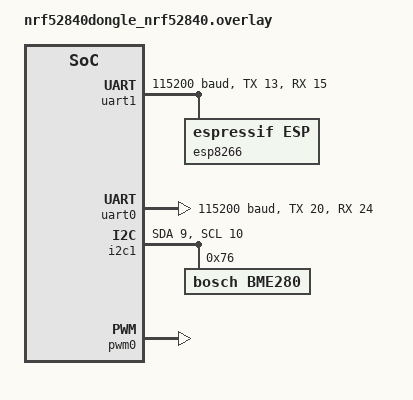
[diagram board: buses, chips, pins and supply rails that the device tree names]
&uart1 {
  compatible = "nordic,nrf-uarte";
  status = "okay";
  current-speed = <115200>;
	tx-pin = <13>;
	rx-pin = <15>;

  esp8266 {
    compatible = "espressif,esp";
    label = "esp8266";
    status = "okay";
  };
};

&uart0 {
	compatible = "nordic,nrf-uarte";
	status = "okay";
	current-speed = <115200>;
	tx-pin = <20>;
	rx-pin = <24>;
	rts-pin = <17>;
	cts-pin = <22>;
};

&i2c1 {
  compatible = "nordic,nrf-twi";
  status = "okay";
	sda-pin = <9>;
	scl-pin = <10>;

	bme280@76 {
		compatible = "bosch,bme280";
		reg = <0x76>;
		label = "BME280";
	};
};

&spi1 {
  status = "disabled";
};

&pwm0 {
	status = "okay";
	ch0-pin = <8>;
	ch1-pin = <41>;
	ch2-pin = <12>;
	//ch0-inverted;
};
